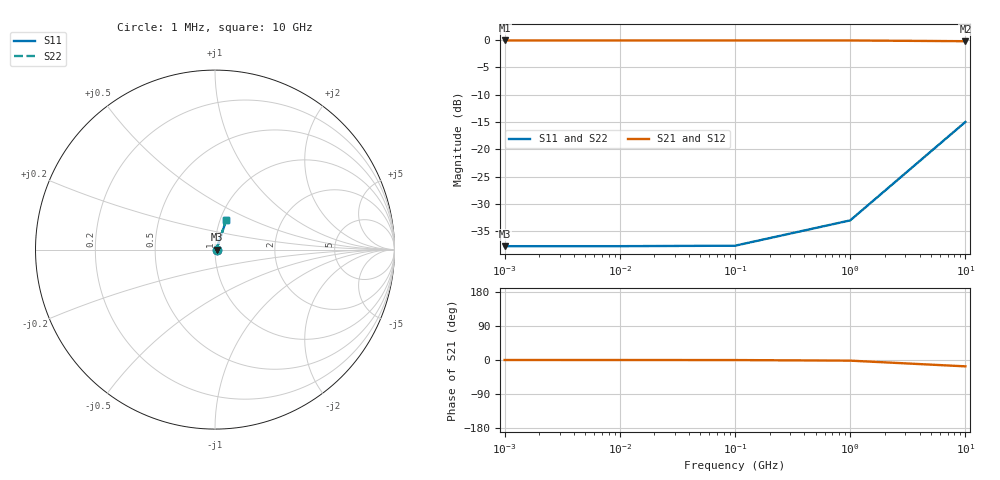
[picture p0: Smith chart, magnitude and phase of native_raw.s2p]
! Sonnet Data File
! From: em Version : 18.53-Lite
! From Project: project
! Data is NOT De-embedded
! Data File Written: 10/07/2026 08:33:07
!< HDATE 10/07/2026 08:33:07
!< MDATE 10/07/2026 08:33:07
# GHZ S RI R 50.00000
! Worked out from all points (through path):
!   5 points, 1 MHz to 10 GHz, reference 50 ohm
!   highest |S21| = -0.11 dB at 1 MHz (marker M1); lowest = -0.3 dB at 10 GHz (marker M2)
!   lowest |S11| = -37.7 dB at 1 MHz (marker M3), VSWR 1.03, Z = 51.3 + j0.00184 ohm
!   |S11| at or under -10 dB: start of sweep to end of sweep
!   |S22| runs from -37.7 to -15.0 dB; largest |S21 - S12| = 1.3e-12
0.001  0.013 1.79e-05  0.987 -2.93e-05  0.987 -2.93e-05  0.013 1.79e-05
0.01  0.013 0.000178  0.987 -0.000292  0.987 -0.000292  0.013 0.000178
0.1  0.013 0.00178  0.987 -0.00292  0.987 -0.00292  0.013 0.00178
1  0.0135 0.0178  0.9864 -0.0292  0.9864 -0.0292  0.0135 0.0178
10  0.0633 0.1659  0.9302 -0.2801  0.9302 -0.2801  0.0633 0.1659
